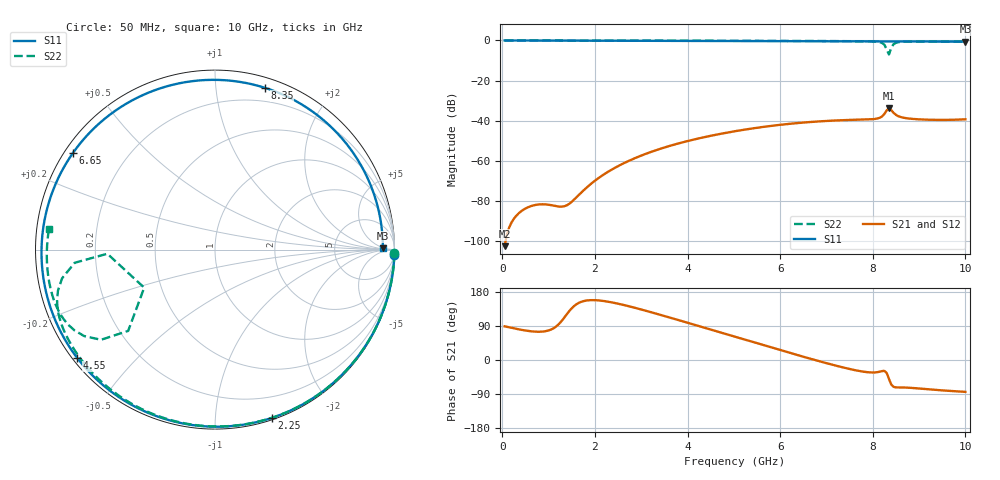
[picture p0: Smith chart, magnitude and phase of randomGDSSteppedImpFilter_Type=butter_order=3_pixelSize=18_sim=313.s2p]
! freq	dB(S11)	phase(S11)	dB(S12)	phase(S12)
!  dB(S21)	phase(S21)	dB(S22)	phase(S22)
!S-par simulation data
#  GHz  S  DB  R 50
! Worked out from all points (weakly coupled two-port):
!   200 points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, 50 MHz to 10 GHz, reference 50 ohm
!   highest |S21| = -33.77 dB at 8.35 GHz (marker M1); lowest = -102.5 dB at 50 MHz (marker M2)
!   lowest |S11| = -0.6 dB at 10 GHz (marker M3), VSWR 29.95, Z = 1.48e+03 + j174 ohm
!   |S11| at or under -10 dB: nowhere
!   |S22| runs from -7.0 to 0.0 dB; largest |S21 - S12| = 0
!   S11 on the Smith chart (normalised r, x): 50 MHz: 1, -70; 2.25 GHz: 0.02, -1.39; 4.55 GHz: 0.01, -0.35; 6.65 GHz: 0.02, +0.31; 8.35 GHz: 0.08, +1.35; 10 GHz: 30, +3
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0.05  -0.00 -1.6  -102.54 88.8  -102.54 88.8  -0.00 -1.1
0.75  -0.03 -24.3  -81.85 74.6  -81.85 74.6  -0.02 -16.0
1.5  -0.06 -48.1  -80.40 136.7  -80.40 136.7  -0.04 -31.7
1.75  -0.07 -55.9  -74.83 155.2  -74.83 155.2  -0.05 -36.9
2.25  -0.09 -71.4  -65.94 154.6  -65.94 154.6  -0.06 -47.1
3.4  -0.14 -106.5  -54.09 119.6  -54.09 119.6  -0.09 -69.8
4.55  -0.21 -141.7  -47.29 78.6  -47.29 78.6  -0.13 -91.4
5.05  -0.24 -157.7  -45.14 60.6  -45.14 60.6  -0.15 -100.5
5.9  -0.31 173.6  -42.32 30.0  -42.32 30.0  -0.20 -115.7
6.65  -0.38 145.8  -40.65 3.4  -40.65 3.4  -0.25 -129.2
6.7  -0.38 143.9  -40.56 1.7  -40.56 1.7  -0.26 -130.1
7.5  -0.45 110.9  -39.62 -23.7  -39.62 -23.7  -0.34 -145.3
8.15  -0.49 82.0  -38.54 -30.8  -38.54 -30.8  -0.88 -165.4
8.25  -0.50 77.5  -36.67 -28.7  -36.67 -28.7  -2.10 -174.6
8.3  -0.50 75.2  -34.87 -34.0  -34.87 -34.0  -4.43 -177.8
8.35  -0.51 72.9  -33.77 -50.0  -33.77 -50.0  -6.98 -151.7
8.4  -0.51 70.6  -34.71 -65.0  -34.71 -65.0  -3.57 -136.9
8.45  -0.51 68.4  -36.10 -70.8  -36.10 -70.8  -1.83 -141.7
8.55  -0.51 63.8  -37.73 -72.5  -37.73 -72.5  -0.89 -150.1
8.7  -0.52 56.9  -38.67 -72.7  -38.67 -72.7  -0.60 -157.1
9.35  -0.55 27.7  -39.58 -78.8  -39.58 -78.8  -0.54 -173.3
10  -0.58 0.5  -39.30 -84.0  -39.30 -84.0  -0.61 173.0
